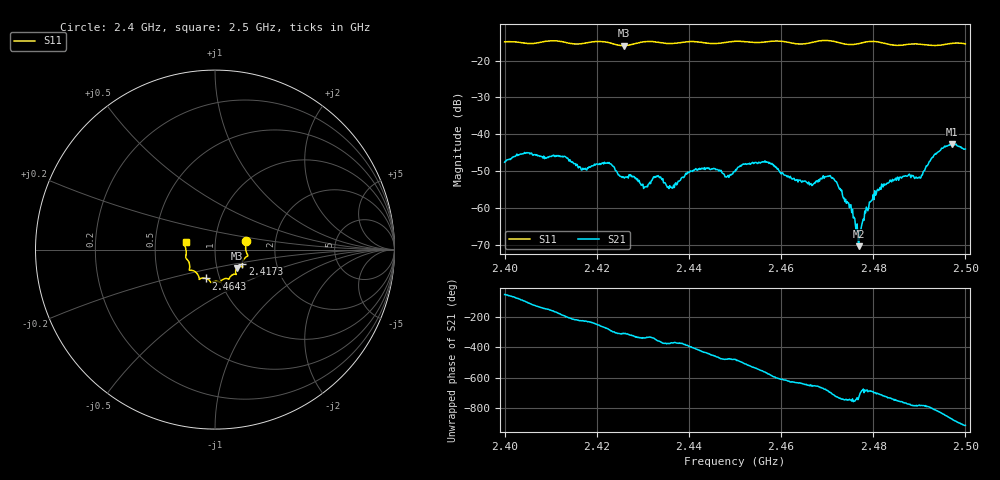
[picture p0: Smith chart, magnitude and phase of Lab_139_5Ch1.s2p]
# Hz S RI R 50
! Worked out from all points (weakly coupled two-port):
!   601 points, 2.4 GHz to 2.5 GHz, reference 50 ohm
!   highest |S21| = -42.64 dB at 2.4972 GHz (marker M1); lowest = -70.4 dB at 2.4768 GHz (marker M2)
!   lowest |S11| = -15.9 dB at 2.4258 GHz (marker M3), VSWR 1.38, Z = 62.3 - j13.3 ohm
!   |S11| at or under -10 dB: start of sweep to end of sweep
!   S12 and S22 are empty: the file has one direction only
!   S11 on the Smith chart (normalised r, x): 2.4 GHz: 1.41, +0.14; 2.4173 GHz: 1.34, -0.23; 2.4643 GHz: 0.86, -0.28; 2.5 GHz: 0.72, +0.06
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2.4e9  0.1733 0.049  0.0028 -0.0031  0 0  0 0
2.405333e9  0.1706 0.00946  -0.00145 -0.00541  0 0  0 0
2.416667e9  0.1528 -0.0744  -0.00242 0.0022  0 0  0 0
2.417333e9  0.152 -0.0819  -0.00236 0.00241  0 0  0 0
2.422667e9  0.1478 -0.0945  0.000796 0.00407  0 0  0 0
2.425833e9  0.1216 -0.1037  0.00153 0.00213  0 0  0 0
2.430667e9  0.1184 -0.1382  0.00176 0.000803  0 0  0 0
2.433333e9  0.1126 -0.1371  0.00274 0.000163  0 0  0 0
2.436e9  0.0942 -0.1428  0.00186 -0.000372  0 0  0 0
2.4415e9  0.0759 -0.1646  0.0022 -0.00262  0 0  0 0
2.45e9  0.0292 -0.181  -0.0015 -0.00272  0 0  0 0
2.456667e9  -0.0119 -0.1795  -0.00372 0.00188  0 0  0 0
2.464333e9  -0.0497 -0.1606  0.000348 0.00228  0 0  0 0
2.466667e9  -0.076 -0.1596  0.000733 0.00188  0 0  0 0
2.471667e9  -0.0877 -0.1589  0.00235 -6.41e-05  0 0  0 0
2.475e9  -0.1067 -0.1263  0.000972 -0.000518  0 0  0 0
2.476833e9  -0.1248 -0.1164  0.000292 -7.92e-05  0 0  0 0
2.479833e9  -0.1431 -0.1137  0.00116 0.000567  0 0  0 0
2.483333e9  -0.141 -0.0897  0.00212 -0.000523  0 0  0 0
2.490167e9  -0.1629 -0.0397  0.000981 -0.00234  0 0  0 0
2.497167e9  -0.1701 0.0277  -0.00685 -0.00275  0 0  0 0
2.5e9  -0.1641 0.0426  -0.00599 0.002  0 0  0 0
